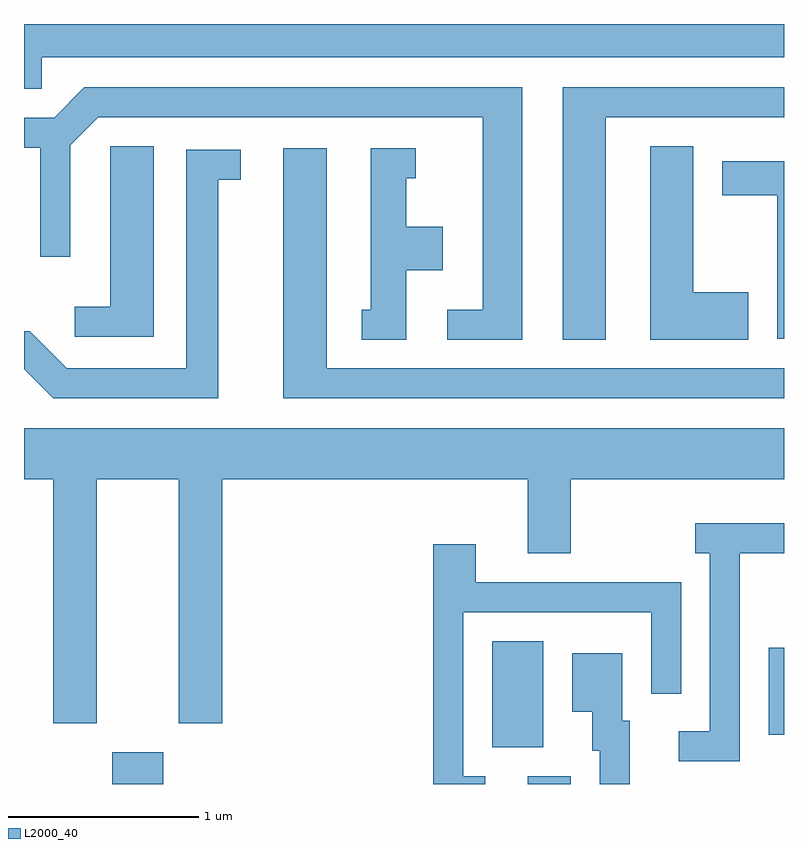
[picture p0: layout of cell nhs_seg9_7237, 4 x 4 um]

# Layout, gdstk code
import gdstk
lib = gdstk.Library(unit=1e-6, precision=1e-09)
def R(c, l, rs):  # rectangles x0, y0, x1, y1
    for r in rs: c.add(gdstk.rectangle(r[:2], r[2:], *l))
def P(c, l, *ps):  # polygons
    for p in ps: c.add(gdstk.Polygon(p, *l))
L2000_40 = (2000, 40)

nhs_seg9_7237 = lib.new_cell('nhs_seg9_7237')
R(nhs_seg9_7237, L2000_40, [(400.076,1992.432,400.344,1992.599), (402.261,1992.432,402.489,1992.474), (402.076,1992.626,402.344,1993.184), (403.531,1992.691,403.611,1993.149)])
P(nhs_seg9_7237, L2000_40, [(399.704,1996.256),(403.611,1996.256),(403.611,1996.432),(399.611,1996.432),(399.611,1996.091),(399.704,1996.091)],
  [(402.234,1996.099),(399.929,1996.099),(399.769,1995.939),(399.611,1995.939),(399.611,1995.781),(399.696,1995.781),(399.696,1995.208),(399.854,1995.208),(399.854,1995.794),(400.002,1995.941),(402.026,1995.941),(402.026,1994.929),(401.838,1994.929),(401.838,1994.771),(402.234,1994.771)],
  [(402.674,1995.941),(403.611,1995.941),(403.611,1996.099),(402.446,1996.099),(402.446,1994.771),(402.674,1994.771)],
  [(403.424,1995.019),(403.134,1995.019),(403.134,1995.789),(402.906,1995.789),(402.906,1994.771),(403.424,1994.771)],
  [(400.294,1995.789),(400.066,1995.789),(400.066,1994.944),(399.878,1994.944),(399.878,1994.786),(400.294,1994.786)],
  [(403.611,1994.619),(401.204,1994.619),(401.204,1995.779),(400.976,1995.779),(400.976,1994.461),(403.611,1994.461)],
  [(401.624,1995.136),(401.814,1995.136),(401.814,1995.364),(401.624,1995.364),(401.624,1995.621),(401.673,1995.621),(401.673,1995.779),(401.436,1995.779),(401.436,1994.929),(401.388,1994.929),(401.388,1994.771),(401.624,1994.771)],
  [(400.634,1995.611),(400.753,1995.611),(400.753,1995.769),(400.466,1995.769),(400.466,1994.619),(399.837,1994.619),(399.642,1994.814),(399.611,1994.814),(399.611,1994.614),(399.764,1994.461),(400.634,1994.461)],
  [(403.611,1995.709),(403.286,1995.709),(403.286,1995.531),(403.576,1995.531),(403.576,1994.776),(403.611,1994.776)],
  [(399.994,1994.036),(400.426,1994.036),(400.426,1992.751),(400.654,1992.751),(400.654,1994.036),(402.261,1994.036),(402.261,1993.646),(402.489,1993.646),(402.489,1994.036),(403.611,1994.036),(403.611,1994.304),(399.611,1994.304),(399.611,1994.036),(399.766,1994.036),(399.766,1992.751),(399.994,1992.751)],
  [(403.379,1993.646),(403.611,1993.646),(403.611,1993.804),(403.143,1993.804),(403.143,1993.646),(403.221,1993.646),(403.221,1992.709),(403.058,1992.709),(403.058,1992.551),(403.379,1992.551)],
  [(402.038,1992.474),(401.924,1992.474),(401.924,1993.336),(402.911,1993.336),(402.911,1992.908),(403.069,1992.908),(403.069,1993.494),(401.989,1993.494),(401.989,1993.694),(401.766,1993.694),(401.766,1992.432),(402.038,1992.432)],
  [(402.799,1992.764),(402.759,1992.764),(402.759,1993.119),(402.496,1993.119),(402.496,1992.811),(402.601,1992.811),(402.601,1992.606),(402.641,1992.606),(402.641,1992.432),(402.799,1992.432)])

lib.write_gds('nhs_seg9_7237.gds')
